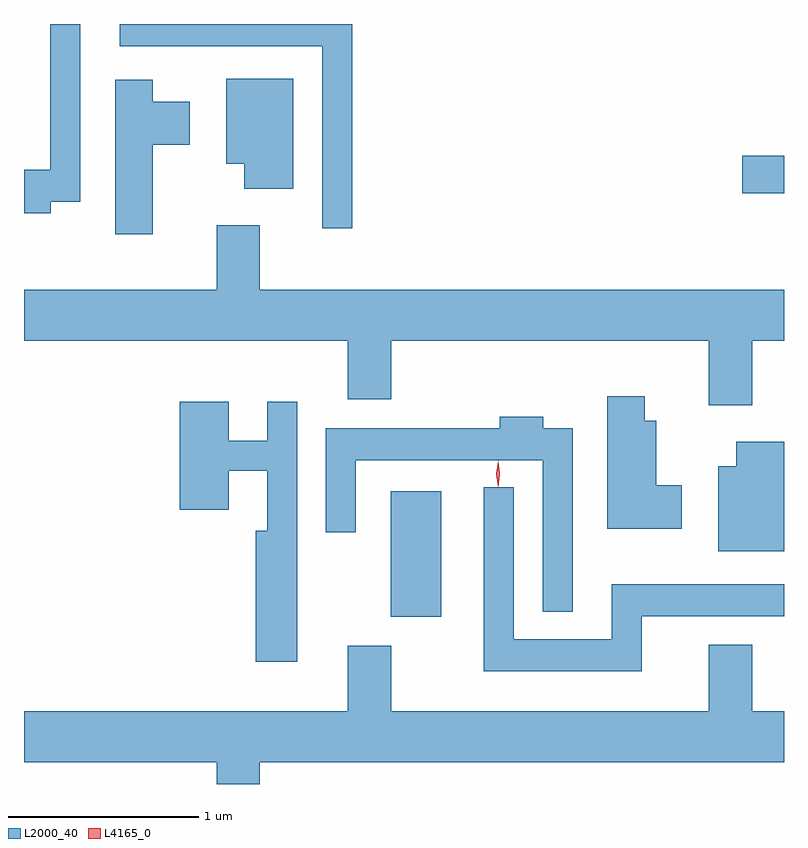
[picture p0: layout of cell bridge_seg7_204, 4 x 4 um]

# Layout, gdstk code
import gdstk
lib = gdstk.Library(unit=1e-6, precision=1e-09)
def R(c, l, rs):  # rectangles x0, y0, x1, y1
    for r in rs: c.add(gdstk.rectangle(r[:2], r[2:], *l))
def P(c, l, *ps):  # polygons
    for p in ps: c.add(gdstk.Polygon(p, *l))
L2000_40 = (2000, 40)
L4165_0 = (4165, 0)

bridge_seg7_204 = lib.new_cell('bridge_seg7_204')
R(bridge_seg7_204, L2000_40, [(1497.686,1706.201,1497.954,1706.864), (1499.536,1708.431,1499.757,1708.629)])
P(bridge_seg7_204, L2000_40, [(1497.484,1709.322),(1496.261,1709.322),(1496.261,1709.206),(1497.326,1709.206),(1497.326,1708.248),(1497.484,1708.248)],
  [(1495.899,1708.386),(1496.054,1708.386),(1496.054,1709.322),(1495.896,1709.322),(1495.896,1708.554),(1495.757,1708.554),(1495.757,1708.326),(1495.899,1708.326)],
  [(1497.174,1709.034),(1496.821,1709.034),(1496.821,1708.586),(1496.916,1708.586),(1496.916,1708.456),(1497.174,1708.456)],
  [(1496.434,1708.686),(1496.629,1708.686),(1496.629,1708.914),(1496.434,1708.914),(1496.434,1709.029),(1496.236,1709.029),(1496.236,1708.216),(1496.434,1708.216)],
  [(1499.589,1707.656),(1499.757,1707.656),(1499.757,1707.924),(1496.999,1707.924),(1496.999,1708.264),(1496.771,1708.264),(1496.771,1707.924),(1495.757,1707.924),(1495.757,1707.656),(1497.461,1707.656),(1497.461,1707.346),(1497.689,1707.346),(1497.689,1707.656),(1499.361,1707.656),(1499.361,1707.316),(1499.589,1707.316)],
  [(1499.219,1706.894),(1499.084,1706.894),(1499.084,1707.234),(1499.024,1707.234),(1499.024,1707.364),(1498.826,1707.364),(1498.826,1706.666),(1499.219,1706.666)],
  [(1497.194,1707.333),(1497.036,1707.333),(1497.036,1707.129),(1496.834,1707.129),(1496.834,1707.334),(1496.576,1707.334),(1496.576,1706.766),(1496.834,1706.766),(1496.834,1706.971),(1497.036,1706.971),(1497.036,1706.654),(1496.976,1706.654),(1496.976,1705.966),(1497.194,1705.966)],
  [(1498.644,1707.194),(1498.489,1707.194),(1498.489,1707.254),(1498.261,1707.254),(1498.261,1707.194),(1497.346,1707.194),(1497.346,1706.648),(1497.504,1706.648),(1497.504,1707.026),(1498.486,1707.026),(1498.486,1706.228),(1498.644,1706.228)],
  [(1499.757,1707.124),(1499.506,1707.124),(1499.506,1706.994),(1499.411,1706.994),(1499.411,1706.546),(1499.757,1706.546)],
  [(1499.009,1706.206),(1499.757,1706.206),(1499.757,1706.374),(1498.851,1706.374),(1498.851,1706.084),(1498.334,1706.084),(1498.334,1706.883),(1498.176,1706.883),(1498.176,1705.916),(1499.009,1705.916)],
  [(1496.999,1705.436),(1499.757,1705.436),(1499.757,1705.704),(1499.589,1705.704),(1499.589,1706.054),(1499.361,1706.054),(1499.361,1705.704),(1497.689,1705.704),(1497.689,1706.049),(1497.461,1706.049),(1497.461,1705.704),(1495.757,1705.704),(1495.757,1705.436),(1496.771,1705.436),(1496.771,1705.322),(1496.999,1705.322)])
P(bridge_seg7_204, L4165_0, [(1498.252,1706.887),(1498.252,1706.887),(1498.242,1706.954),(1498.252,1707.02),(1498.252,1707.02),(1498.252,1707.02),(1498.262,1706.954),(1498.253,1706.887)],
  [(1498.252,1706.884),(1498.252,1706.884),(1498.242,1706.953),(1498.252,1707.022),(1498.252,1707.023),(1498.253,1707.022),(1498.262,1706.953),(1498.253,1706.884)])

lib.write_gds('bridge_seg7_204.gds')
